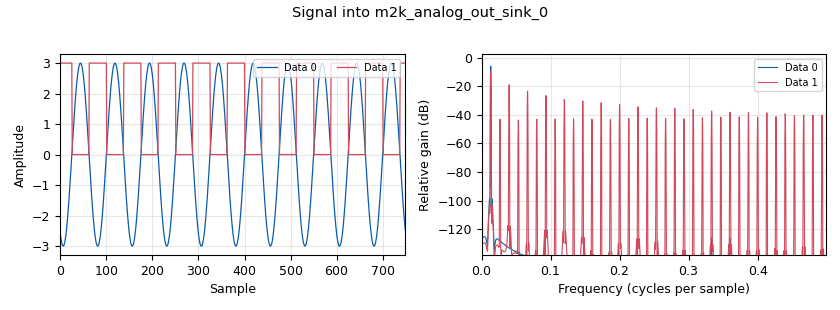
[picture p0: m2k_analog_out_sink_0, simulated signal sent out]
options:
  parameters:
    author: teo
    generate_options: qt_gui
    id: gr_m2k_analog
    output_language: python
    title: Not titled yet
  states: {}

blocks:
- name: samp_rate
  id: variable
  parameters:
    value: '32000'
  states: {}
- name: variable_qtgui_chooser_0
  id: variable_qtgui_chooser
  parameters:
    label0: '75000'
    label1: '750000'
    label2: '7500000'
    label3: '7500'
    label4: '750'
    num_opts: '5'
    option0: '75000'
    option1: '750000'
    option2: '7500000'
    option3: '7500'
    option4: '750'
    type: real
    value: '75000'
  states: {}
- name: variable_qtgui_chooser_1
  id: variable_qtgui_chooser
  parameters:
    label0: '100000'
    label1: '1000000'
    label2: '10000'
    label3: '1000'
    num_opts: '4'
    option0: '100000'
    option1: '1000000'
    option2: '10000'
    option3: '1000'
    type: real
    value: '1000000'
  states: {}
- name: analog_sig_source_x_0
  id: analog_sig_source_x
  parameters:
    amp: '3'
    freq: '1000'
    offset: '0'
    phase: '0'
    samp_rate: variable_qtgui_chooser_0
    type: float
    waveform: analog.GR_SIN_WAVE
  states: {}
- name: analog_sig_source_x_0_0
  id: analog_sig_source_x
  parameters:
    amp: '3'
    freq: '1000'
    offset: '0'
    phase: '0'
    samp_rate: variable_qtgui_chooser_0
    type: float
    waveform: analog.GR_SQR_WAVE
  states: {}
- name: blocks_message_debug_0
  id: blocks_message_debug
  parameters: {}
  states: {}
- name: m2k_analog_in_source_1
  id: m2k_analog_in_source
  parameters:
    buffer_size: '32768'
    calibrateADC: 'True'
    enable_ch1: 'True'
    enable_ch2: 'True'
    kernel_buffers: '4'
    oversampling_ratio: '1'
    range_1: '0'
    range_2: '0'
    sampling_frequency: variable_qtgui_chooser_1
    streaming: 'True'
    trigger_condition_ch1: '0'
    trigger_condition_ch2: '0'
    trigger_delay: '0'
    trigger_level_ch1: '1'
    trigger_level_ch2: '1'
    trigger_mode_ch1: '0'
    trigger_mode_ch2: '0'
    trigger_source: '0'
    type: 'True'
    uri: ip:192.168.2.1
  states: {}
- name: m2k_analog_out_sink_0
  id: m2k_analog_out_sink
  parameters:
    buffer_size: '32768'
    calibrateDAC: 'True'
    cyclic_ch1: 'False'
    cyclic_ch2: 'False'
    kernel_buffers_ch1: '4'
    kernel_buffers_ch2: '4'
    oversampling_ratio_ch1: '1'
    oversampling_ratio_ch2: '1'
    sampling_frequency_ch1: variable_qtgui_chooser_0
    sampling_frequency_ch2: variable_qtgui_chooser_0
    type: 'True'
    uri: ip:192.168.2.1
  states: {}
- name: qtgui_time_sink_x_0
  id: qtgui_time_sink_x
  parameters:
    size: '0x1000'
    srate: samp_rate
    type: float
    ymax: '5'
    ymin: '-5'
  states: {}
- name: qtgui_time_sink_x_0_0
  id: qtgui_time_sink_x
  parameters:
    size: '0x1000'
    srate: samp_rate
    type: float
    ymax: '5'
    ymin: '-5'
  states: {}

connections:
- [analog_sig_source_x_0, '0', m2k_analog_out_sink_0, '0']
- [analog_sig_source_x_0_0, '0', m2k_analog_out_sink_0, '1']
- [m2k_analog_in_source_1, '0', qtgui_time_sink_x_0_0, '0']
- [m2k_analog_in_source_1, '1', qtgui_time_sink_x_0, '0']
- [m2k_analog_in_source_1, msg, blocks_message_debug_0, print]

metadata:
  file_format: 1
  grc_version: v3.10.1.1-19-g9edfade8
